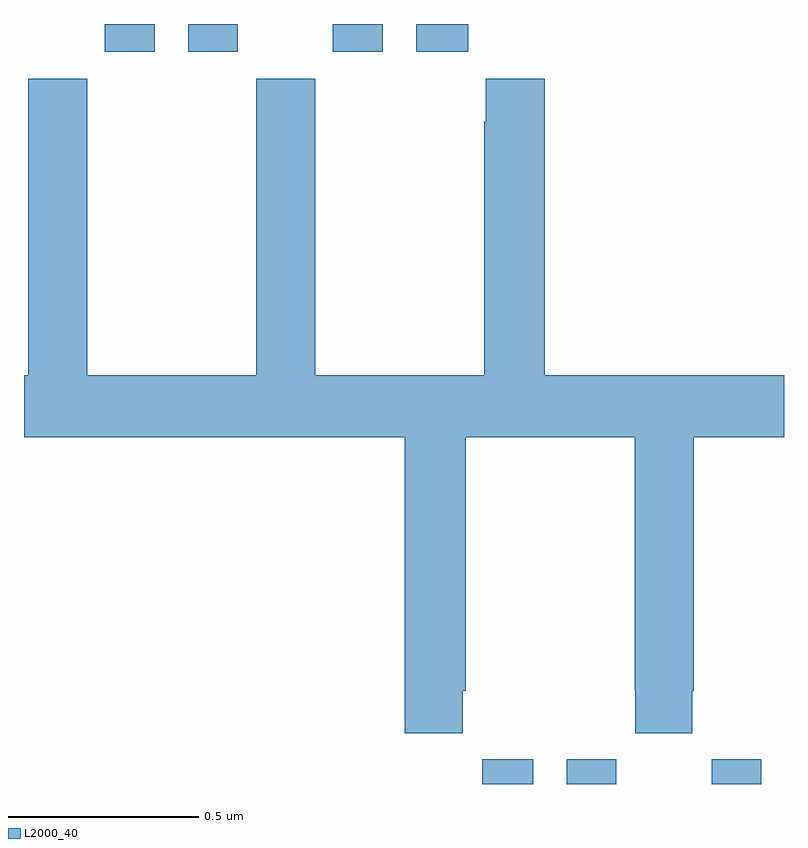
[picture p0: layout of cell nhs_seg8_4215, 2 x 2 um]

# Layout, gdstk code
import gdstk
lib = gdstk.Library(unit=1e-6, precision=1e-09)
def R(c, l, rs):  # rectangles x0, y0, x1, y1
    for r in rs: c.add(gdstk.rectangle(r[:2], r[2:], *l))
def P(c, l, *ps):  # polygons
    for p in ps: c.add(gdstk.Polygon(p, *l))
L2000_40 = (2000, 40)

nhs_seg8_4215 = lib.new_cell('nhs_seg8_4215')
R(nhs_seg8_4215, L2000_40, [(168.206,1136.9,168.34,1136.965), (168.428,1136.9,168.558,1136.965), (168.81,1136.9,168.94,1136.965), (167.213,1138.827,167.344,1138.9), (167.432,1138.827,167.563,1138.9), (167.813,1138.827,167.944,1138.9), (168.032,1138.827,168.169,1138.9)])
P(nhs_seg8_4215, L2000_40, [(168.155,1137.145),(168.162,1137.145),(168.162,1137.812),(168.607,1137.812),(168.607,1137.145),(168.609,1137.145),(168.609,1137.033),(168.759,1137.033),(168.759,1137.145),(168.762,1137.145),(168.762,1137.812),(169,1137.812),(169,1137.976),(168.371,1137.976),(168.371,1138.756),(168.215,1138.756),(168.215,1138.643),(168.211,1138.643),(168.211,1137.976),(167.766,1137.976),(167.766,1138.756),(167.611,1138.756),(167.611,1137.976),(167.166,1137.976),(167.166,1138.756),(167.011,1138.756),(167.011,1137.976),(167,1137.976),(167,1137.812),(168.002,1137.812),(168.002,1137.033),(168.155,1137.033)])

lib.write_gds('nhs_seg8_4215.gds')
